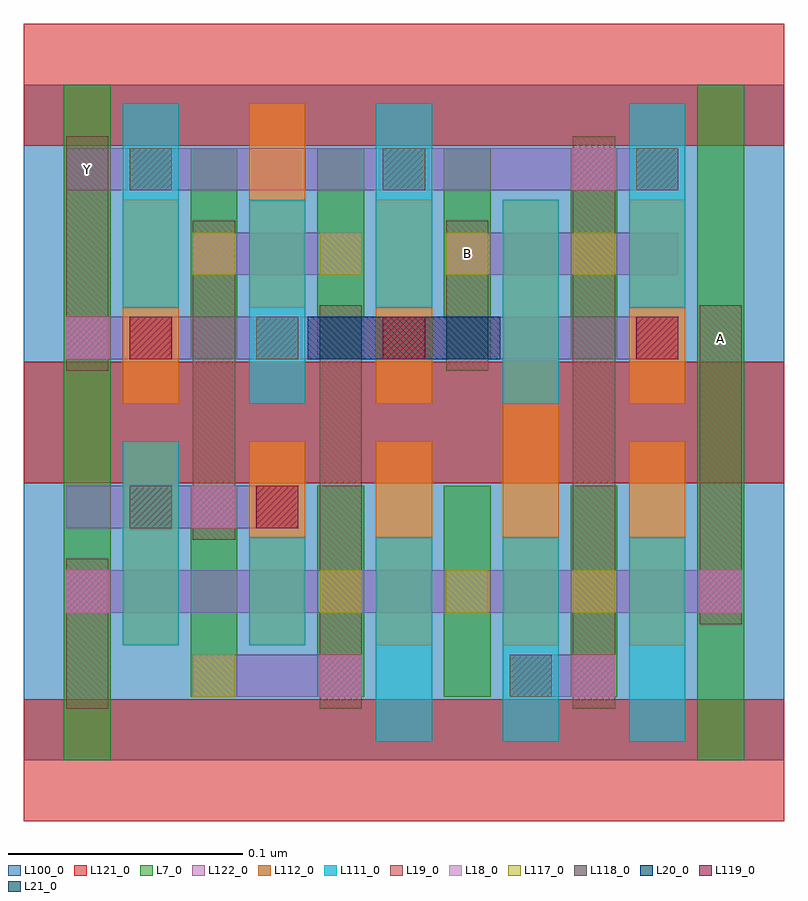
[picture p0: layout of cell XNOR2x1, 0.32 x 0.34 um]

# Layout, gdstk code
import gdstk
lib = gdstk.Library(unit=1e-6, precision=2.5e-10)
def R(c, l, rs):  # rectangles x0, y0, x1, y1
    for r in rs: c.add(gdstk.rectangle(r[:2], r[2:], *l))
def A(c, l, x, y, w, h, nx, ny, dx, dy):  # array of equal rectangles
    R(c, l, [(x+i*dx, y+j*dy, x+i*dx+w, y+j*dy+h) for i in range(nx) for j in range(ny)])
L7_0 = (7, 0)
L18_0 = (18, 0)
L19_0 = (19, 0)
L20_0 = (20, 0)
L21_0 = (21, 0)
L100_0 = (100, 0)
L111_0 = (111, 0)
L112_0 = (112, 0)
L117_0 = (117, 0)
L118_0 = (118, 0)
L119_0 = (119, 0)
L121_0 = (121, 0)
L122_0 = (122, 0)

xnor2x1 = lib.new_cell('XNOR2x1')
A(xnor2x1, L7_0, 0.071, 0.027, 0.02, 0.09, 4, 2, 0.054, 0.144)
R(xnor2x1, L7_0, [(0.017,0,0.037,0.144), (0.287,0,0.307,0.144), (0.017,0.144,0.037,0.288), (0.287,0.144,0.307,0.288)])
R(xnor2x1, L18_0, [(0.126,0.027,0.144,0.045), (0.234,0.027,0.252,0.045), (0.018,0.063,0.036,0.081), (0.288,0.063,0.306,0.081), (0.072,0.099,0.09,0.117), (0.018,0.171,0.036,0.189), (0.072,0.207,0.09,0.225), (0.18,0.207,0.198,0.225), (0.234,0.243,0.252,0.261)])
R(xnor2x1, L19_0, [(0.018,0.022,0.036,0.086), (0.126,0.022,0.144,0.194), (0.234,0.022,0.252,0.266), (0.288,0.058,0.306,0.194), (0.072,0.094,0.09,0.23), (0.018,0.166,0.036,0.266), (0.18,0.166,0.198,0.23)])
R(xnor2x1, L20_0, [(0.121,0.171,0.203,0.189)])
R(xnor2x1, L21_0, [(0.126,0.171,0.144,0.189), (0.18,0.171,0.198,0.189)])
R(xnor2x1, L100_0, [(0,0,0.324,0.288)])
A(xnor2x1, L111_0, 0.15, 0.008, 0.024, 0.087, 3, 1, 0.054, 0)
A(xnor2x1, L111_0, 0.042, 0.193, 0.024, 0.087, 3, 1, 0.108, 0)
R(xnor2x1, L111_0, [(0.042,0.049,0.066,0.136), (0.096,0.049,0.12,0.095), (0.096,0.152,0.12,0.239), (0.204,0.152,0.228,0.239)])
A(xnor2x1, L112_0, 0.042, 0.049, 0.024, 0.087, 3, 1, 0.054, 0)
A(xnor2x1, L112_0, 0.042, 0.152, 0.024, 0.087, 3, 1, 0.108, 0)
R(xnor2x1, L112_0, [(0.204,0.049,0.228,0.144), (0.258,0.049,0.282,0.136), (0.204,0.144,0.228,0.239), (0.096,0.193,0.12,0.28)])
A(xnor2x1, L117_0, 0.126, 0.063, 0.018, 0.018, 3, 1, 0.054, 0)
A(xnor2x1, L117_0, 0.072, 0.207, 0.018, 0.018, 4, 1, 0.054, 0)
R(xnor2x1, L117_0, [(0.072,0.027,0.09,0.045)])
A(xnor2x1, L118_0, 0.045, 0.243, 0.018, 0.018, 3, 1, 0.108, 0)
R(xnor2x1, L118_0, [(0.207,0.027,0.225,0.045), (0.045,0.099,0.063,0.117), (0.099,0.171,0.117,0.189)])
A(xnor2x1, L119_0, 0.045, 0.171, 0.018, 0.018, 3, 1, 0.108, 0)
R(xnor2x1, L119_0, [(0.099,0.099,0.117,0.117)])
A(xnor2x1, L121_0, 0, -0.026, 0.324, 0.052, 1, 3, 0, 0.144)
R(xnor2x1, L122_0, [(0.072,0.027,0.144,0.045), (0.207,0.027,0.252,0.045), (0.018,0.063,0.306,0.081), (0.018,0.099,0.117,0.117), (0.018,0.171,0.279,0.189), (0.072,0.207,0.144,0.225), (0.18,0.207,0.279,0.225), (0.018,0.243,0.279,0.261)])
xnor2x1.add(gdstk.Label('Y', (0.027,0.252), layer=19, texttype=251))
xnor2x1.add(gdstk.Label('B', (0.189,0.216), layer=19, texttype=251))
xnor2x1.add(gdstk.Label('A', (0.297,0.18), layer=19, texttype=251))

lib.write_gds('XNOR2x1.gds')
